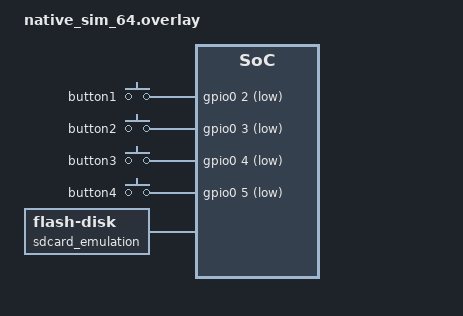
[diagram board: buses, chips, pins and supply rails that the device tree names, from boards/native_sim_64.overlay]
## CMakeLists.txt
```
# SPDX-FileCopyrightText: 2025 Anna-Lena Marx <mail@marx.engineer>
#
# SPDX-License-Identifier: MPL-2.0

cmake_minimum_required(VERSION 3.20.0)

find_package(Zephyr REQUIRED HINTS $ENV{ZEPHYR_BASE})
project(ZEReader LANGUAGES C)

target_sources(app PRIVATE src/main.c src/events.c)
```

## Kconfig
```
# SPDX-FileCopyrightText: 2025 Anna-Lena Marx <mail@marx.engineer>
#
# SPDX-License-Identifier: MPL-2.0

menu "ZEReader"

# Logging
# use template to create log level configurations
module = ZEREADER
module-str = zereader
source "subsys/logging/Kconfig.template.log_config"

endmenu

source "Kconfig.zephyr"
```

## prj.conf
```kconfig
# SPDX-FileCopyrightText: 2025 Anna-Lena Marx <mail@marx.engineer>
#
# SPDX-License-Identifier: MPL-2.0

# https://docs.zephyrproject.org/latest/kconfig.html

# Peripherals
CONFIG_SERIAL=y
CONFIG_GPIO=y
CONFIG_ADC=y

CONFIG_DISPLAY=y
CONFIG_DISPLAY_LOG_LEVEL_DBG=n
CONFIG_UC81XX=y

CONFIG_INPUT=y
CONFIG_INPUT_EVENT_DUMP=y

# Logging
CONFIG_LOG=y
CONFIG_ZEREADER_LOG_LEVEL_DBG=y
CONFIG_LOG_MODE_IMMEDIATE=y
CONFIG_LOG_BACKEND_UART=y
CONFIG_UART_CONSOLE=y

# Memory Protection
CONFIG_ARM_MPU=y
CONFIG_HW_STACK_PROTECTION=y
CONFIG_STACK_SENTINEL=y

# Disk Access
CONFIG_DISK_ACCESS=y

# File System
CONFIG_FILE_SYSTEM=y
CONFIG_FAT_FILESYSTEM_ELM=y
CONFIG_FS_FATFS_EXFAT=y
CONFIG_FS_FATFS_LBA64=y
# Long file names (LFN)
CONFIG_FS_FATFS_LFN=y
CONFIG_FS_FATFS_LFN_MODE_STACK=y
CONFIG_FS_FATFS_MAX_LFN=255

# Memory Configuration
# Make sure the configured stack size matches the size of
# e.g. read buffer arrays!
CONFIG_INIT_STACKS=y
CONFIG_MAIN_STACK_SIZE=8192
CONFIG_HEAP_MEM_POOL_SIZE=200000
CONFIG_IDLE_STACK_SIZE=256
CONFIG_SYSTEM_WORKQUEUE_STACK_SIZE=8192
CONFIG_ISR_STACK_SIZE=2048

# LVGL
CONFIG_LVGL=y
CONFIG_APP_LINK_WITH_LVGL=y
CONFIG_LV_Z_AUTO_INIT=y
CONFIG_LV_Z_BUTTON_INPUT_MSGQ_COUNT=4
CONFIG_LV_COLOR_DEPTH_1=y

CONFIG_LV_Z_MEM_POOL_HEAP_LIB_C=y

# Use two rendering buffers
CONFIG_LV_Z_DOUBLE_VDB=y

CONFIG_LV_Z_FULL_REFRESH=n
# Huge RAM influence!
CONFIG_LV_Z_VDB_SIZE=100

CONFIG_LV_USE_THEME_MONO=y
CONFIG_LV_DRAW_SW_I1_LUM_THRESHOLD=65

CONFIG_LV_USE_LOG=y
CONFIG_LV_LABEL_LONG_TXT_HINT=y
```

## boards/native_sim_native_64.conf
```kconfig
# SPDX-FileCopyrightText: 2025 Florian Limberger <flo@purplekraken.com>
#
# SPDX-License-Identifier: MPL-2.0

# Native_sim uses simulated flash instead of an SD card
CONFIG_FLASH=y

# This needs the FUSE development headers installed:
#CONFIG_FUSE_FS_ACCESS=y
```

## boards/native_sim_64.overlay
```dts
// SPDX-FileCopyrightText: 2025 Florian Limberger <flo@purplekraken.com>
//
// SPDX-License-Identifier: MPL-2.0

#include <zephyr/dt-bindings/input/input-event-codes.h>
#include <zephyr/dt-bindings/lvgl/lvgl.h>

&flashcontroller0 {
	reg = <0x00000000 DT_SIZE_K(1024 * 100)>;
};

&flash0 {
	reg = <0x00000000 DT_SIZE_K(1024 * 100)>;

	partitions {
		compatible = "fixed-partitions";
		#address-cells = <1>;
		#size-cells = <1>;

		flashdisk_partition: partition@0 {
			reg = <0x00000000 DT_SIZE_K(1024 * 100)>;
		};
	};
};

&sdl_dc {
	compatible = "zephyr,sdl-dc";
	height = <480>;
	width = <800>;
};

/ {
	keys: keys {
		compatible = "gpio-keys";
		button1: button1 {
			gpios = <&gpio0 2 GPIO_ACTIVE_LOW>;
			zephyr,code = <INPUT_KEY_1>;
		};

		button2: button2 {
			gpios = <&gpio0 3 GPIO_ACTIVE_LOW>;
			zephyr,code = <INPUT_KEY_2>;
		};

		button3: button3 {
			gpios = <&gpio0 4 GPIO_ACTIVE_LOW>;
			zephyr,code = <INPUT_KEY_3>;
		};

		button4: button4 {
			gpios = <&gpio0 5 GPIO_ACTIVE_LOW>;
			zephyr,code = <INPUT_KEY_4>;
		};
	};

	lvgl_button_input: lvgl_button_input {
		compatible = "zephyr,lvgl-button-input";
		input = <&keys>;
		input-codes = <INPUT_KEY_1 INPUT_KEY_2 INPUT_KEY_3 INPUT_KEY_4>;
		coordinates = <10 470>, <360 470>, <450 470>, <770 470>;
	};

	sdcard_emulation: sdcard_emulation {
		compatible = "zephyr,flash-disk";
		partition = <&flashdisk_partition>;
		disk-name = "SD"; /* this is the same name as the SD card reader */
		cache-size = <4096>;
	};
};
```

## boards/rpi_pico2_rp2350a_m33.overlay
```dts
../../boards/rpi_pico2_rp2350a_m33.overlay
```

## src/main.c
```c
/*
 * SPDX-FileCopyrightText: 2025 Anna-Lena Marx <mail@marx.engineer>
 *
 * SPDX-License-Identifier: MPL-2.0
 */

#include <stdio.h>
#include <zephyr/logging/log.h>
#include <zephyr/device.h>
#include <zephyr/devicetree.h>
#include <zephyr/drivers/display.h>
#include <zephyr/drivers/gpio.h>
#include <zephyr/kernel.h>
#include <zephyr/input/input.h>

#include <device_management/device_management.h>
#include <event_handler/event_handler.h>
#include <ui/ui.h>

#define POWERCONTROL DT_ALIAS(devicestatecontrol)

LOG_MODULE_REGISTER(main, CONFIG_ZEREADER_LOG_LEVEL);

#if defined(CONFIG_BUTTON_ONOFF)
static bool shutdown_triggered = false;
static const struct device *const longpress_dev = DEVICE_DT_GET(DT_NODELABEL(longpress));
static const struct gpio_dt_spec powercontrol_pin = GPIO_DT_SPEC_GET(POWERCONTROL, gpios);

static void longpress_shutdown_cb(struct input_event *event, void *user_data)
{
  LOG_DBG("Long press detected - turning the device off!");
  if (!shutdown_triggered)
  {
    shutdown_triggered = true;
    app_event_t app_event = {
        .type = APP_EVENT_SHUTDOWN,
        .data.shutdown.pin = &powercontrol_pin,
    };
    app_post_event(&app_event);
  }
}
INPUT_CALLBACK_DEFINE(longpress_dev, longpress_shutdown_cb, NULL);

#endif // CONFIG_BUTTON_ONOFF

int main(void)
{
  LOG_DBG("ZEReader is starting... %s\n", CONFIG_BOARD_TARGET);

  app_events_init();

#if defined(CONFIG_BUTTON_ONOFF)
    LOG_DBG("Button On/Off configured!");
    if (!gpio_is_ready_dt(&powercontrol_pin))
    {
      LOG_ERR("Device 'powercontrol_pin' is not ready, aborting...");
      return 0;
    }

    if (gpio_pin_configure_dt(&powercontrol_pin, GPIO_OUTPUT_ACTIVE) < 0)
    {
      LOG_ERR("Device 'powercontrol_pin' could not be configured as an output!");
      return -EACCES;
    }

    if (!device_is_ready(longpress_dev))
    {
      LOG_ERR("Device 'longpress_dev' is not ready, aborting...");
      return 0;
    }
#endif // CONFIG_BUTTON_ONOFF

  context_t context = CONTEXT_INIT;
  app_event_t event_epub_init = {
      .type = APP_EVENT_EPUB_INIT,
      .data.context.context = &context,
  };
  app_post_event(&event_epub_init);

  if (dev_mgmt_init() < 0)
  {
    LOG_ERR("Setup peripherals failed!");
    return 0;
  }

  ui_init(&context);

#if defined(CONFIG_BUTTON_ONOFF)
    if (gpio_pin_set_dt(&powercontrol_pin, 1) < 0)
    {
      LOG_ERR("Unable to set 'powercontrol_pin'!");
      return -EACCES;
    }
    else
    {
      LOG_DBG("ZEReader is now ON!");
    }
#endif // CONFIG_BUTTON_ONOFF

  zereader_show_logo();
  lv_timer_handler();

  dev_mgmt_display_blanking_off();
  zereader_clean_page();

  context = CONTEXT_READING;
  app_event_t event_restore_book = {
      .type = APP_EVENT_RESTORE_BOOK,
      .data.context.context = &context,
  };
  app_post_event(&event_restore_book);

  lv_timer_handler();

  while (1)
  {
    zereader_ui_lock();
    uint32_t sleep_ms = lv_timer_handler();
    zereader_ui_unlock();

    k_msleep(MIN(sleep_ms, INT32_MAX));
  }

  return 0;
}
```

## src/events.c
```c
/*
 * SPDX-FileCopyrightText: 2025 Anna-Lena Marx <mail@marx.engineer>
 *
 * SPDX-License-Identifier: MPL-2.0
 */

#include <zephyr/kernel.h>
#include <events.h>
#include <epub/epub.h>
#include <ui/ui.h>

#include <zephyr/logging/log.h>
LOG_MODULE_REGISTER(events, CONFIG_ZEREADER_LOG_LEVEL);

K_MSGQ_DEFINE(app_event_queue, sizeof(app_event_t), 3, 4);

static void handle_book_selected_event(const app_event_t *event)
{
    LOG_DBG("Handling APP_EVENT_BOOK_SELECTED, book_id: %d", event->data.book_selected.book_id);
    book_entry_t *entry = epub_get_book_entry_for_num(event->data.book_selected.book_id);
    epub_open_book(entry);
    zereader_ui_lock();
    zereader_print_next_page();
    zereader_ui_unlock();
    epub_write_current_book_state();
}

// Array of function pointers, indexed by event type
static void (*event_handlers[])(const app_event_t *) = {
    [APP_EVENT_BOOK_SELECTED] = handle_book_selected_event,
};

static void handle_event(const app_event_t *event)
{
    if (event->type < ARRAY_SIZE(event_handlers) && event_handlers[event->type] != NULL) {
        event_handlers[event->type](event);
    } else {
        LOG_WRN("Unhandled event type: %d", event->type);
    }
}

static void event_thread(void)
{
    app_event_t received_event;
    while (1) {
        k_msgq_get(&app_event_queue, &received_event, K_FOREVER);
        handle_event(&received_event);
    }
}

K_THREAD_DEFINE(event_tid, 8192, event_thread, NULL, NULL, NULL, 7, 0, 0);

void app_post_event(const app_event_t *event)
{
    if (k_msgq_put(&app_event_queue, event, K_NO_WAIT) != 0) {
        LOG_WRN("Failed to post event to queue");
    }
}

void app_events_init(void)
{
    // The event thread is started automatically by K_THREAD_DEFINE
    LOG_DBG("Event system initialized");
}
```
